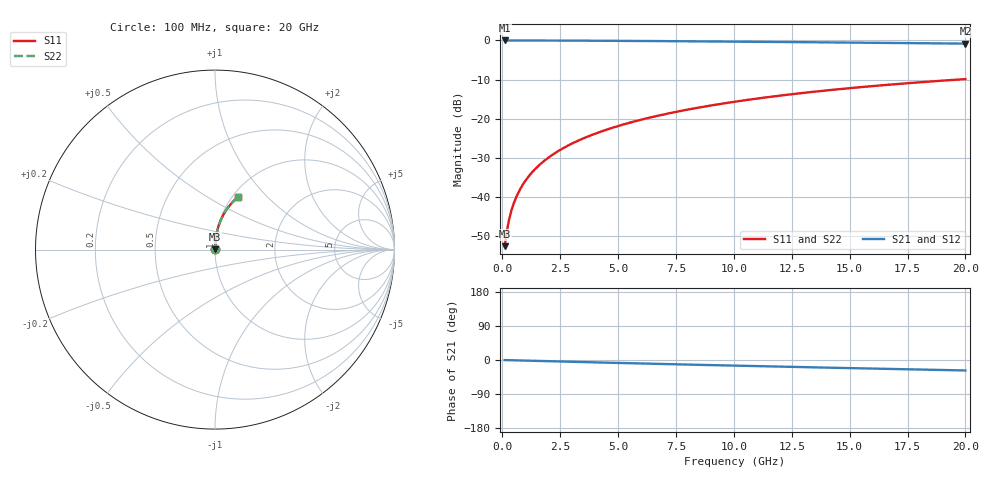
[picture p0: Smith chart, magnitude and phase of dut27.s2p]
! Touchstone file exported from HFSS 2024.1.0
!  File:  C:/UserFiles/LocalFiles/RDL_TSV_Batchsim/temp_RDL_top_27_1778680425.aedt
!  Generated:  09:56:08 PM May 13, 2026
!  Design:  RDL_top
!  Project:  temp_RDL_top_27_1778680425
!  Setup:  Setup1
!  Solution:  Sweep
! Variables:
!  dtsv = 10.80580581um
!  hbump = 3um
!  htsv = 88.69um
!  ldown = 100um
!  lrdl = 322.17um
!  p = 40
!  p1 = 59.17um
!  rhole = 1um
!  t = 450um
!  tdown = 3.915915916um
!  trdl = 4.19um
!  wdown = 15.38538539um
!  wrdl = 17.94um
# GHz S MA R 50.000000
! Terminal data exported
! Port[1] = Box2_T1
! Port[2] = Box2_T2
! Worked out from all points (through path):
!   200 points, 100 MHz to 20 GHz, reference 50 ohm
!   highest |S21| = -0.01 dB at 100 MHz (marker M1); lowest = -0.8 dB at 20 GHz (marker M2)
!   group delay of S21, straight-line fit = 3.81 ps
!   lowest |S11| = -52.5 dB at 100 MHz (marker M3), VSWR 1.00, Z = 50.2 + j0.167 ohm
!   |S11| at or under -10 dB: start of sweep to 19.7 GHz
!   |S22| runs from -52.5 to -9.9 dB; largest |S21 - S12| = 6.9e-15
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0.1  0.00236 45.0  0.9983 -0.2  0.9983 -0.2  0.00236 45.0
! Gamma 0 0 0 0
! Port Impedance 50 0 50 0
0.2  0.003739 62.7  0.9983 -0.3  0.9983 -0.3  0.003739 62.7
0.3  0.005262 70.2  0.9982 -0.5  0.9982 -0.5  0.005262 70.2
0.4  0.006814 74.2  0.9981 -0.6  0.9981 -0.6  0.006815 74.2
0.5  0.008373 76.7  0.998 -0.8  0.998 -0.8  0.008373 76.7
0.7  0.01149 79.8  0.9978 -1.1  0.9978 -1.1  0.01149 79.8
0.8  0.01305 80.7  0.9977 -1.3  0.9977 -1.3  0.01305 80.7
1  0.01619 82.2  0.9975 -1.6  0.9975 -1.6  0.01619 82.2
1.2  0.01933 83.1  0.9973 -1.9  0.9973 -1.9  0.01933 83.1
1.4  0.02248 83.8  0.997 -2.2  0.997 -2.2  0.02248 83.8
1.7  0.02723 84.4  0.9966 -2.7  0.9966 -2.7  0.02723 84.4
2  0.032 84.8  0.996 -3.2  0.996 -3.2  0.032 84.8
2.7  0.04319 85.2  0.9945 -4.3  0.9945 -4.3  0.04319 85.2
3.5  0.05609 85.1  0.9923 -5.5  0.9923 -5.5  0.05609 85.1
4.2  0.06749 84.9  0.99 -6.6  0.99 -6.6  0.06749 84.9
5  0.08063 84.4  0.9871 -7.8  0.9871 -7.8  0.08062 84.4
6.8  0.1105 82.8  0.9796 -10.4  0.9796 -10.4  0.1105 82.8
8.4  0.1374 81.1  0.9723 -12.6  0.9723 -12.6  0.1373 81.1
10.1  0.1658 79.1  0.9641 -15.0  0.9641 -15.0  0.1658 79.1
13.4  0.2201 74.8  0.9471 -19.3  0.9471 -19.3  0.2201 74.8
16.7  0.2719 70.5  0.9289 -23.6  0.9289 -23.6  0.2719 70.5
20  0.3205 66.3  0.9096 -27.6  0.9096 -27.6  0.3205 66.3
